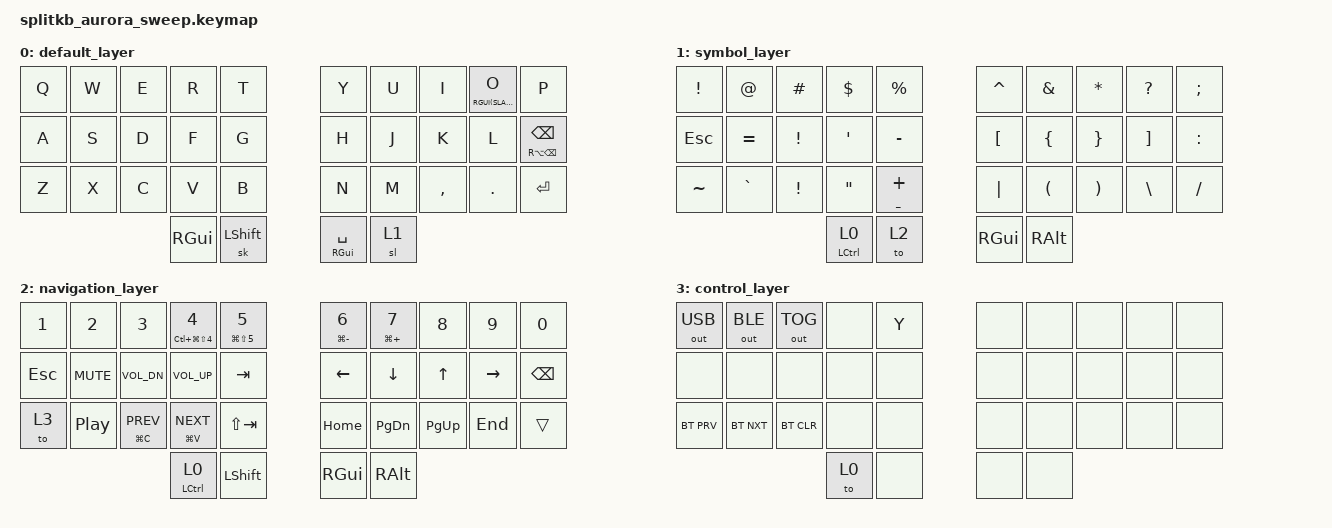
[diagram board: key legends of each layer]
/*
 * Copyright (c) 2022 The ZMK Contributors
 *
 * SPDX-License-Identifier: MIT
 */

#include <behaviors.dtsi>
#include <dt-bindings/zmk/keys.h>
#include <dt-bindings/zmk/bt.h>
#include <dt-bindings/zmk/outputs.h>

&mt {
    flavor = "tap-preferred";
    tapping_term_ms = <200>;
};

&sl {
    release-after-ms = <2000>;
};

/ {
    behaviors {
        hm: homerow_mods {
            compatible = "zmk,behavior-hold-tap";
            label = "HOMEROW_MODS";
            #binding-cells = <2>;
            tapping-term-ms = <200>;
            quick_tap_ms = <0>;
            flavor = "tap-preferred";
            bindings = <&kp>, <&kp>;
        };
        bspc_del: backspace_delete {
            compatible = "zmk,behavior-mod-morph";
            label = "BACKSPACE_DELETE";
            #binding-cells = <0>;
            bindings = <&kp BACKSPACE>, <&kp DELETE>;
            mods = <MOD_LCTL>;
        };
        to_sl: behavior_to_sl {
            compatible = "zmk,behavior-hold-tap";
            label = "to_sl";
            #binding-cells = <2>;
            flavor = "hold-preferred";
            tapping-term-ms = <200>;
            bindings = <&to>, <&sl>;
        };
        kh_to: behavior_kh_to {
            compatible = "zmk,behavior-hold-tap";
            label = "kh_to";
            #binding-cells = <2>;
            flavor = "hold-preferred";
            tapping-term-ms = <200>;
            bindings = <&kp>, <&to>;
        };
    };

    combos {
        compatible = "zmk,combos";

        combo_lalt {
            timeout-ms = <50>;
            key-positions = <11 12>;
            bindings = <&kp LALT>;
        };
        combo_lgui {
            timeout-ms = <50>;
            key-positions = <12 13>;
            bindings = <&kp LGUI>;
        };
    };

    // Comment out -> Cmd + / 
    // Figma hide UI -> Cmd + \
    // Back navigation -> Cmd + [
    // browse tab nav -> Ctrl + tab
    // Terminate terminal process -> Ctrl + C


    keymap {
        compatible = "zmk,keymap";

       	default_layer {
            bindings = <
            &kp Q  &kp W  &kp E   &kp R    &kp T 			        &kp Y        &kp U    &kp I    &mt RGUI(SLASH) O &kp P 
            &kp A  &kp S  &kp D   &kp F    &kp G 			        &kp H        &kp J    &kp K    &kp L             &mt RA(BACKSPACE) BACKSPACE
            &kp Z  &kp X  &kp C   &kp V    &kp B			        &kp N        &kp M    &kp CMMA &kp DOT           &kp ENTER
                                  &kp RGUI   &sk LSHIFT   		    &mt RGUI SPC &sl 1
            >;
		};

       	symbol_layer {
            bindings = <
		    &kp EXCL  &kp AT    &kp HASH  &kp DLLR          &kp PRCNT		        &kp CARET &kp AMPS &kp ASTRK &kp QMARK &kp SEMI
		    &kp ESC   &kp EQUAL &kp EXCL  &kp SQT           &kp MINUS 		        &kp LBKT  &kp LBRC &kp RBRC  &kp RBKT  &kp COLON
            &kp TILDE &kp GRAVE &kp EXCL  &kp DQT           &mt UNDER PLUS	        &kp PIPE  &kp LPRN &kp RPRN  &kp BSLH  &kp SLASH 
					                      &kh_to LCTRL 0 &to 2      	        &kp RGUI  &kp RALT
            >;
		};
		
        navigation_layer {
            bindings = <
            &kp N1  &kp N2     &kp N3           &mt LC(LG(LS(N4))) N4 &mt LG(LS(N5)) N5       &mt LG(MINUS) N6 &mt LG(PLUS) N7 &kp N8    &kp N9    &kp N0
            &kp ESC &kp K_MUTE &kp K_VOL_DN     &kp K_VOL_UP          &kp TAB                 &kp LEFT         &kp DOWN        &kp UP    &kp RIGHT &kp BSPC
            &to 3   &kp C_PP   &mt LG(C) C_PREV &mt LG(V) C_NEXT      &kp LS(TAB)             &kp HOME         &kp PG_DN       &kp PG_UP &kp END   &trans 
                                                &kh_to LCTRL 0     &kp LSHIFT 	          &kp RGUI         &kp RALT
            >;
		};

		control_layer {
            bindings = <
            &out OUT_USB &out OUT_BLE &out OUT_TOG &none    &kp Y          &none   &none   &none   &none   &none  
            &none        &none        &none        &none    &none          &none   &none   &none   &none   &none  
            &bt BT_PRV   &bt BT_NXT   &bt BT_CLR   &none    &none          &none   &none   &none   &none   &none    
                                                   &to 0 &none   	   &none   &none
            >;
		};
	};
};
